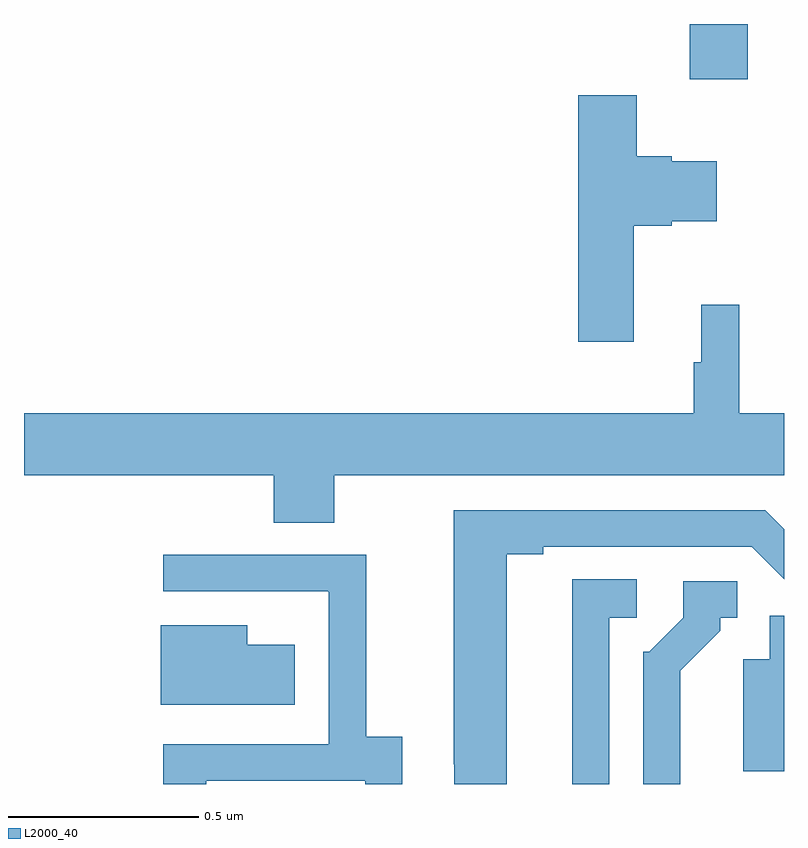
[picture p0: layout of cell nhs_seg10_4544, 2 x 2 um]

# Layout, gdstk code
import gdstk
lib = gdstk.Library(unit=1e-6, precision=1e-09)
def R(c, l, rs):  # rectangles x0, y0, x1, y1
    for r in rs: c.add(gdstk.rectangle(r[:2], r[2:], *l))
def P(c, l, *ps):  # polygons
    for p in ps: c.add(gdstk.Polygon(p, *l))
L2000_40 = (2000, 40)

nhs_seg10_4544 = lib.new_cell('nhs_seg10_4544')
R(nhs_seg10_4544, L2000_40, [(168.752,1305.354,168.904,1305.5)])
P(nhs_seg10_4544, L2000_40, [(168.604,1304.969),(168.705,1304.969),(168.705,1304.981),(168.823,1304.981),(168.823,1305.139),(168.705,1305.139),(168.705,1305.152),(168.612,1305.152),(168.612,1305.313),(168.458,1305.313),(168.458,1304.664),(168.604,1304.664)],
  [(167.817,1304.312),(169,1304.312),(169,1304.476),(168.882,1304.476),(168.882,1304.761),(168.782,1304.761),(168.782,1304.61),(168.763,1304.61),(168.763,1304.476),(167,1304.476),(167,1304.312),(167.657,1304.312),(167.657,1304.188),(167.817,1304.188)],
  [(168.271,1304.104),(168.367,1304.104),(168.367,1304.124),(168.915,1304.124),(169,1304.039),(169,1304.171),(168.951,1304.22),(168.131,1304.22),(168.131,1303.552),(168.132,1303.552),(168.132,1303.5),(168.271,1303.5)],
  [(167.479,1303.509),(167.898,1303.509),(167.898,1303.5),(167.995,1303.5),(167.995,1303.625),(167.901,1303.625),(167.901,1304.103),(167.367,1304.103),(167.367,1304.007),(167.801,1304.007),(167.801,1304.006),(167.802,1304.006),(167.802,1303.605),(167.367,1303.605),(167.367,1303.5),(167.479,1303.5)],
  [(168.54,1303.938),(168.613,1303.938),(168.613,1304.039),(168.443,1304.039),(168.443,1303.5),(168.54,1303.5)],
  [(168.727,1303.798),(168.832,1303.903),(168.832,1303.938),(168.877,1303.938),(168.877,1304.034),(168.735,1304.034),(168.735,1303.938),(168.645,1303.848),(168.63,1303.848),(168.63,1303.5),(168.727,1303.5)],
  [(169,1303.943),(168.962,1303.943),(168.962,1303.828),(168.893,1303.828),(168.893,1303.534),(169,1303.534)],
  [(167.713,1303.867),(167.587,1303.867),(167.587,1303.918),(167.36,1303.918),(167.36,1303.709),(167.713,1303.709)])

lib.write_gds('nhs_seg10_4544.gds')
